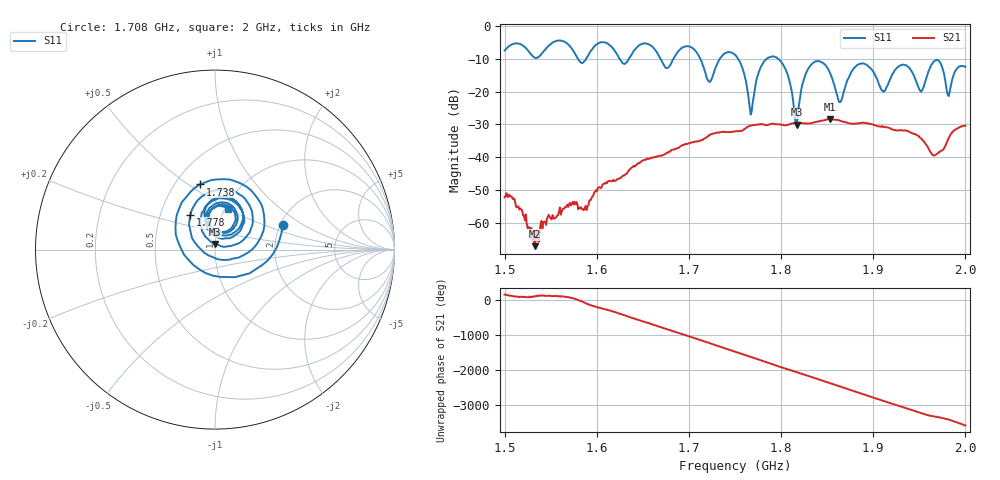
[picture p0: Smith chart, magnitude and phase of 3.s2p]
! NanoVNA-App by SYSJOINT et al v1.1.209 (+OD18)
! Date: 2026-01-21 14:30:41
! Start: 1,5GHz Stop: 2GHz Points: 501
! S-Parameter data: F S11 S21 S12 S22
# Hz S RI R 50
!  Frequency  S11_Real  S11_Imag  S21_Real  S21_Imag  S12_Real  S12_Imag  S22_Real  S22_Imag
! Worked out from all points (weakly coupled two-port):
!   501 points, 1.5 GHz to 2 GHz, reference 50 ohm
!   highest |S21| = -28.40 dB at 1.853 GHz (marker M1); lowest = -67.0 dB at 1.533 GHz (marker M2)
!   lowest |S11| = -30.1 dB at 1.817 GHz (marker M3), VSWR 1.06, Z = 49.9 + j3.14 ohm
!   |S11| at or under -10 dB: 1.712 GHz to 1.734 GHz (21.35 MHz wide, 1.24 % of centre); 1.753 GHz to 1.785 GHz (31.23 MHz wide, 1.77 % of centre); 1.797 GHz to end of sweep (the widest 3 of 6)
!   S12 and S22 are empty: the file has one direction only
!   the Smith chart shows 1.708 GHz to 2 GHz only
!   S11 on the Smith chart (normalised r, x): 1.708 GHz: 2.07, +0.67; 1.738 GHz: 0.66, +0.56; 1.778 GHz: 0.71, +0.29; 2 GHz: 1.04, +0.50
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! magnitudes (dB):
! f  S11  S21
! 1.5 GHz  -7.5  -52.1
! 1.533 GHz  -9.7  -67.0
! 1.584 GHz  -11.3  -55.8
! 1.667 GHz  -8.9  -39.6
! 1.708 GHz  -7.9  -35.1
! 1.722 GHz  -17.0  -33.3
! 1.738 GHz  -8.6  -32.2
! 1.75 GHz  -8.8  -32.1
! 1.767 GHz  -27.0  -30.4
! 1.778 GHz  -12.5  -29.9
! 1.801 GHz  -11.3  -30.1
! 1.817 GHz  -30.1  -29.6
! 1.834 GHz  -11.5  -29.6
! 1.853 GHz  -14.3  -28.4
! 1.864 GHz  -23.3  -28.9
! 1.885 GHz  -11.7  -29.6
! 1.917 GHz  -17.0  -31.0
! 1.934 GHz  -11.9  -31.8
! 1.952 GHz  -20.0  -34.3
! 1.966 GHz  -10.8  -39.5
! 1.982 GHz  -21.4  -34.1
! 2 GHz  -12.5  -30.3
